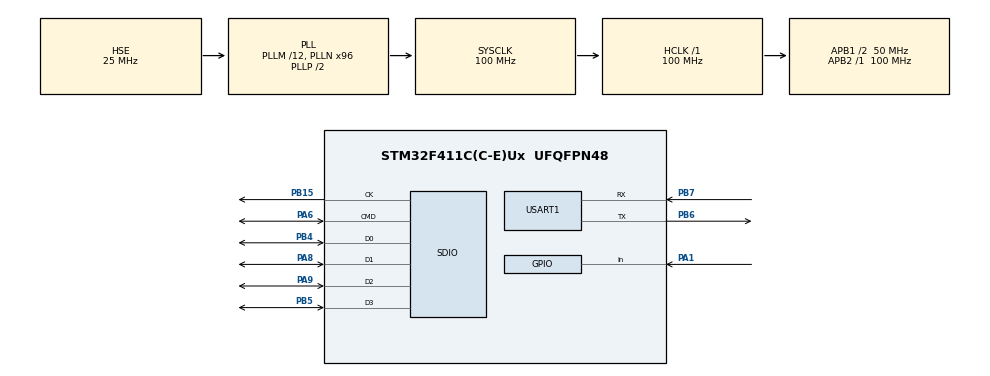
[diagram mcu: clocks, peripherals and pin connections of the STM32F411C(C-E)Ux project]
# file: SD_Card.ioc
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FATFS.BSP.number=1
FATFS0.BSP.STBoard=false
FATFS0.BSP.api=Unknown
FATFS0.BSP.i2caddr=0
FATFS0.BSP.instance=PA1
FATFS0.BSP.ip=GPIO
FATFS0.BSP.mode=Input
FATFS0.BSP.name=Detect_SDIO
FATFS0.BSP.solution=PA1
Mcu.Family=STM32F4
Mcu.Name=STM32F411C(C-E)Ux
Mcu.Package=UFQFPN48
NVIC.PriorityGroup=NVIC_PRIORITYGROUP_4
PA1.GPIO_PuPd=GPIO_PULLDOWN
PA1.Signal=GPIO_Input
PA13.Mode=Serial_Wire
PA13.Signal=SYS_JTMS-SWDIO
PA14.Mode=Serial_Wire
PA14.Signal=SYS_JTCK-SWCLK
PA6.GPIO_PuPd=GPIO_PULLUP
PA6.GPIO_Speed_High_Default=GPIO_SPEED_FREQ_VERY_HIGH
PA6.Mode=SD_4_bits_Wide_bus
PA6.Signal=SDIO_CMD
PA8.GPIO_PuPd=GPIO_PULLUP
PA8.GPIO_Speed_High_Default=GPIO_SPEED_FREQ_VERY_HIGH
PA8.Mode=SD_4_bits_Wide_bus
PA8.Signal=SDIO_D1
PA9.GPIO_PuPd=GPIO_PULLUP
PA9.GPIO_Speed_High_Default=GPIO_SPEED_FREQ_VERY_HIGH
PA9.Mode=SD_4_bits_Wide_bus
PA9.Signal=SDIO_D2
PB15.GPIO_PuPd=GPIO_NOPULL
PB15.GPIO_Speed_High_Default=GPIO_SPEED_FREQ_VERY_HIGH
PB15.Mode=SD_4_bits_Wide_bus
PB15.Signal=SDIO_CK
PB4.GPIO_PuPd=GPIO_PULLUP
PB4.GPIO_Speed_High_Default=GPIO_SPEED_FREQ_VERY_HIGH
PB4.Mode=SD_4_bits_Wide_bus
PB4.Signal=SDIO_D0
PB5.GPIO_PuPd=GPIO_PULLUP
PB5.GPIO_Speed_High_Default=GPIO_SPEED_FREQ_VERY_HIGH
PB5.Mode=SD_4_bits_Wide_bus
PB5.Signal=SDIO_D3
PB6.Mode=Asynchronous
PB6.Signal=USART1_TX
PB7.Mode=Asynchronous
PB7.Signal=USART1_RX
PC14-OSC32_IN.Mode=LSE-External-Oscillator
PC14-OSC32_IN.Signal=RCC_OSC32_IN
PC15-OSC32_OUT.Mode=LSE-External-Oscillator
PC15-OSC32_OUT.Signal=RCC_OSC32_OUT
PH0\ -\ OSC_IN.Mode=HSE-External-Oscillator
PH0\ -\ OSC_IN.Signal=RCC_OSC_IN
PH1\ -\ OSC_OUT.Mode=HSE-External-Oscillator
PH1\ -\ OSC_OUT.Signal=RCC_OSC_OUT
ProjectManager.HeapSize=0x200
ProjectManager.StackSize=0x400
ProjectManager.TargetToolchain=MDK-ARM V5.27
RCC.48MHZClocksFreq_Value=40000000
RCC.AHBFreq_Value=100000000
RCC.APB1CLKDivider=RCC_HCLK_DIV2
RCC.APB1Freq_Value=50000000
RCC.APB1TimFreq_Value=100000000
RCC.APB2Freq_Value=100000000
RCC.APB2TimFreq_Value=100000000
RCC.CortexFreq_Value=100000000
RCC.HCLKFreq_Value=100000000
RCC.HSE_VALUE=25000000
RCC.HSI_VALUE=16000000
RCC.PLLM=12
RCC.PLLN=96
RCC.PLLQ=5
RCC.PLLSourceVirtual=RCC_PLLSOURCE_HSE
RCC.SYSCLKFreq_VALUE=100000000
RCC.SYSCLKSource=RCC_SYSCLKSOURCE_PLLCLK
RCC.VCOOutputFreq_Value=200000000
SDIO.ClockDiv=7
USART1.VirtualMode=VM_ASYNC
VP_FATFS_VS_SDIO.Mode=SDIO
board=custom

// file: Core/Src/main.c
/* USER CODE BEGIN Header */
/**
  ******************************************************************************
  * @file           : main.c
  * @brief          : Main program body
  ******************************************************************************
  * @attention
  *
  * <h2><center>&copy; Copyright (c) 2021 STMicroelectronics.
  * All rights reserved.</center></h2>
  *
  * This software component is licensed by ST under Ultimate Liberty license
  * SLA0044, the "License"; You may not use this file except in compliance with
  * the License. You may obtain a copy of the License at:
  *                             www.st.com/SLA0044
  *
  ******************************************************************************
  */
/* USER CODE END Header */
#include "main.h"
#include "fatfs.h"
#include "sdio.h"
#include "usart.h"
#include "gpio.h"

/* USER CODE BEGIN Includes */
FATFS   fs;            /* FATFS 文件系统对象 */
FRESULT fr;         /* FATFS API 返回值 */
FIL     fd;         /* FATFS 文件对象    */
/* USER CODE END Includes */

void SystemClock_Config(void);

int main(void)
{

  /* MCU Configuration--------------------------------------------------------*/

  /* Reset of all peripherals, Initializes the Flash interface and the Systick. */
  HAL_Init();

  /* Configure the system clock */
  SystemClock_Config();

  /* Initialize all configured peripherals */
  MX_GPIO_Init();
  MX_SDIO_SD_Init();
  MX_USART1_UART_Init();
  MX_FATFS_Init();
  /* USER CODE BEGIN 2 */
printf("FATFS test...\r\n");
/* 挂载SD卡 */
fr = f_mount(&fs, "", 0);
if(fr == FR_OK)
{
    printf("SD card mount ok!\r\n");
}
else
{
    printf("SD card mount error, error code:%d.\r\n",fr);
}
//要操作的文件名
char filename[] = "test.txt";
//文件写入内容
uint8_t write_dat[] = "Hello,FATFS!\n";
//用于接收API返回写入成功的字节数
uint16_t write_num = 0;
fr = f_open(&fd, filename, FA_CREATE_ALWAYS | FA_WRITE);
if(fr == FR_OK)
{
    printf("open file \"%s\" ok! \r\n", filename);
}
else
{
printf("open file \"%s\" error : %d\r\n", filename, fr);
}
/* 向打开的文件中写入内容 */
fr = f_write(&fd, write_dat, sizeof(write_dat), (void *)&write_num);
if(fr == FR_OK)
{
    printf("write %d dat to file \"%s\" ok,dat is \"%s\".\r\n", write_num, filename, write_dat);
}
else
{
    printf("write dat to file \"%s\" error,error code is:%d\r\n", filename, fr);
}

/* 操作完成，关闭文件 */
fr = f_close(&fd);
if(fr == FR_OK)
{
    printf("close file \"%s\" ok!\r\n", filename);
}
else
{
    printf("close file \"%s\" error, error code is:%d.\r\n", filename, fr);
}
  /* USER CODE END 2 */

  /* Infinite loop */
  while (1)
  {

  }
}

void SystemClock_Config(void)
{
  RCC_OscInitTypeDef RCC_OscInitStruct = {0};
  RCC_ClkInitTypeDef RCC_ClkInitStruct = {0};

  /** Configure the main internal regulator output voltage
  */
  __HAL_RCC_PWR_CLK_ENABLE();
  __HAL_PWR_VOLTAGESCALING_CONFIG(PWR_REGULATOR_VOLTAGE_SCALE1);
  /** Initializes the RCC Oscillators according to the specified parameters
  * in the RCC_OscInitTypeDef structure.
  */
  RCC_OscInitStruct.OscillatorType = RCC_OSCILLATORTYPE_HSE;
  RCC_OscInitStruct.HSEState = RCC_HSE_ON;
  RCC_OscInitStruct.PLL.PLLState = RCC_PLL_ON;
  RCC_OscInitStruct.PLL.PLLSource = RCC_PLLSOURCE_HSE;
  RCC_OscInitStruct.PLL.PLLM = 12;
  RCC_OscInitStruct.PLL.PLLN = 96;
  RCC_OscInitStruct.PLL.PLLP = RCC_PLLP_DIV2;
  RCC_OscInitStruct.PLL.PLLQ = 5;
  if (HAL_RCC_OscConfig(&RCC_OscInitStruct) != HAL_OK)
  {
    Error_Handler();
  }
  /** Initializes the CPU, AHB and APB buses clocks
  */
  RCC_ClkInitStruct.ClockType = RCC_CLOCKTYPE_HCLK|RCC_CLOCKTYPE_SYSCLK
                              |RCC_CLOCKTYPE_PCLK1|RCC_CLOCKTYPE_PCLK2;
  RCC_ClkInitStruct.SYSCLKSource = RCC_SYSCLKSOURCE_PLLCLK;
  RCC_ClkInitStruct.AHBCLKDivider = RCC_SYSCLK_DIV1;
  RCC_ClkInitStruct.APB1CLKDivider = RCC_HCLK_DIV2;
  RCC_ClkInitStruct.APB2CLKDivider = RCC_HCLK_DIV1;

  if (HAL_RCC_ClockConfig(&RCC_ClkInitStruct, FLASH_LATENCY_3) != HAL_OK)
  {
    Error_Handler();
  }
}

void Error_Handler(void)
{
  __disable_irq();
  while (1)
  {
  }
}

/************************ (C) COPYRIGHT STMicroelectronics *****END OF FILE****/
